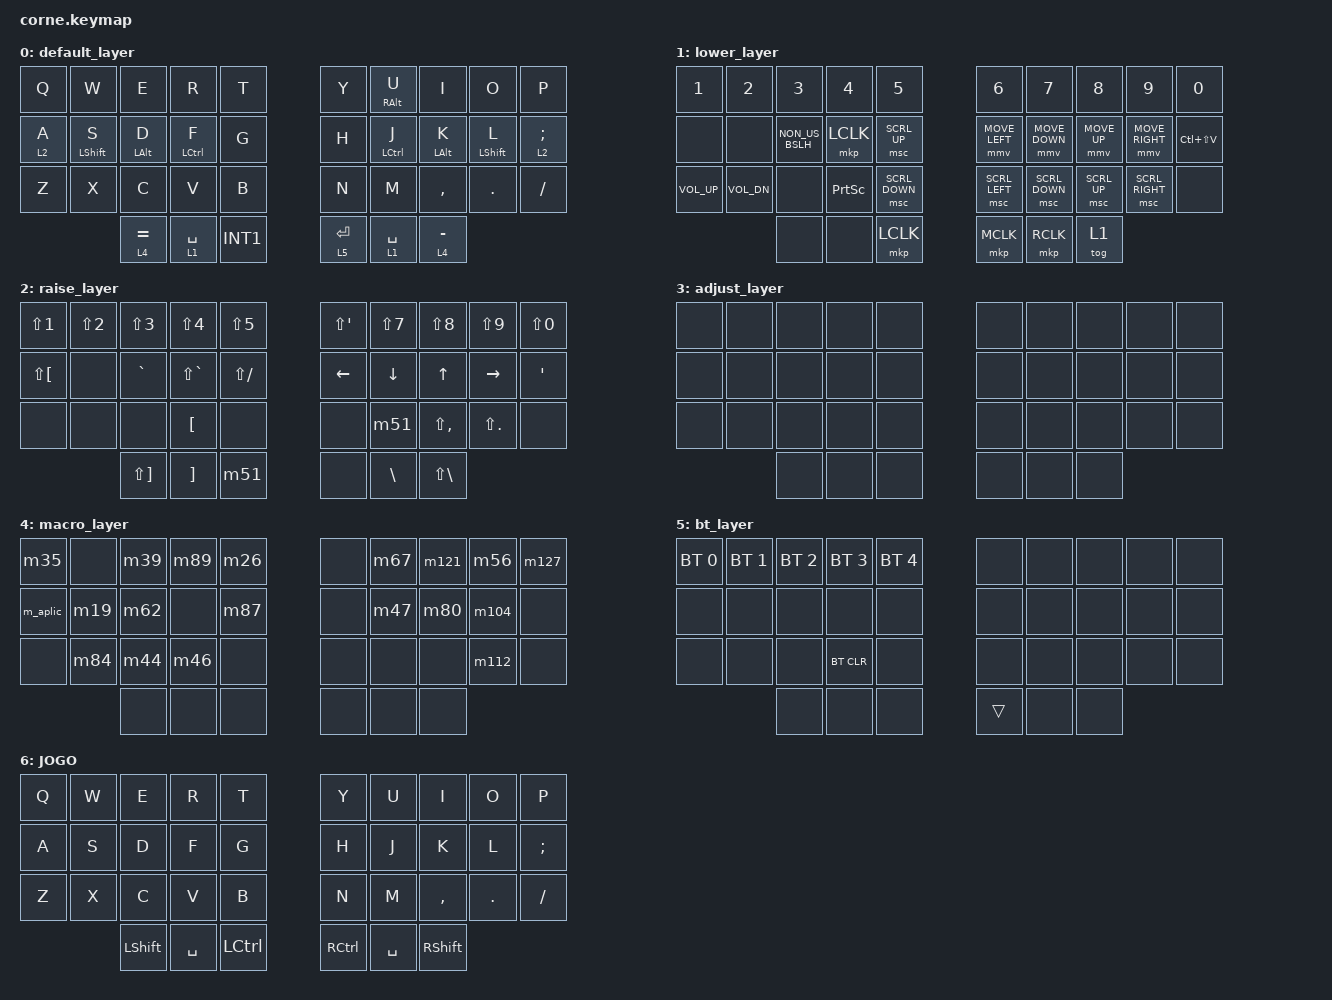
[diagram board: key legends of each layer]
/*
 * Corne Mini 3x5 ZMK Keymap
 * Converted from QMK/Vial - 2026-03-18
 * 
 * Layout: QWERTY with Home Row Mods (GASC)
 * OS Layout: ABNT2 (teclado fisico US, layout BR no OS)
 * 
 * Layers:
 *   0 - Default (QWERTY + HRM)
 *   1 - Lower (Numbers + Mouse)
 *   2 - Raise (Symbols + Navigation)
 *   3 - Adjust (empty/reserved)
 *   4 - Macros (text macros on keys)
 *   5 - Bluetooth: SEGURAR Enter (&lt 5 RET, polegar interno direito) e tocar
 *       Q=PC  W=celular  E=Pi4  R=Orange Pi  T=livre (perfis 0-4; mesmas teclas do 1-5
 *       na Lower). V = limpa o perfil atual. (13/10/2026 — substituiu Espaco->A->tecla.)
 *
 * Positions (Corne 3x5):
 *   0  1  2  3  4     5  6  7  8  9
 *  10 11 12 13 14    15 16 17 18 19
 *  20 21 22 23 24    25 26 27 28 29
 *        30 31 32    33 34 35
 */

#include <behaviors.dtsi>
#include <dt-bindings/zmk/keys.h>
#include <dt-bindings/zmk/bt.h>
#include <dt-bindings/zmk/mouse.h>
#include <dt-bindings/zmk/hid_usage.h>

/ {
    chosen {
        zmk,physical-layout = &foostan_corne_5col_layout;
    };

    behaviors {
        // Liga/desliga a camada JOGO sem inverter (usados pelo hid_listeners abaixo).
        tog_on: tog_on {
            compatible = "zmk,behavior-toggle-layer";
            #binding-cells = <1>;
            display-name = "Layer On";
            toggle-mode = "on";
        };
        tog_off: tog_off {
            compatible = "zmk,behavior-toggle-layer";
            #binding-cells = <1>;
            display-name = "Layer Off";
            toggle-mode = "off";
        };
        hm_l: homerow_left {
            compatible = "zmk,behavior-hold-tap";
            #binding-cells = <2>;
            tapping-term-ms = <200>;
            quick-tap-ms = <150>;
            require-prior-idle-ms = <100>;
            flavor = "tap-preferred";
            hold-trigger-key-positions = <5 6 7 8 9 15 16 17 18 19 25 26 27 28 29 30 31 32 33 34 35>;
            hold-trigger-on-release;
            bindings = <&kp>, <&kp>;
        };
        hm_r: homerow_right {
            compatible = "zmk,behavior-hold-tap";
            #binding-cells = <2>;
            tapping-term-ms = <200>;
            quick-tap-ms = <150>;
            require-prior-idle-ms = <100>;
            flavor = "tap-preferred";
            hold-trigger-key-positions = <0 1 2 3 4 10 11 12 13 14 20 21 22 23 24 30 31 32 33 34 35>;
            hold-trigger-on-release;
            bindings = <&kp>, <&kp>;
        };
        // Shift de um toque (igual ao Sofle): vale só para a PRÓXIMA tecla.
        // quick-release = solta no aperto da próxima (rolando "Eu" não sai "EU");
        // lazy = o Shift só vai ao PC junto com a próxima tecla.
        sk_mai: sticky_shift_maiuscula {
            compatible = "zmk,behavior-sticky-key";
            #binding-cells = <1>;
            release-after-ms = <3000>;
            quick-release;
            lazy;
            bindings = <&kp>;
        };
    };

    macros {
        // Crase LITERAL (28/10/2026, igual ao Sofle): tecla morta + espaço = ` na
        // hora, sem esperar a próxima tecla (senão `agravo` vira "àgravo").
        m_crase: m_crase {
            compatible = "zmk,behavior-macro";
            #binding-cells = <0>;
            wait-ms = <20>;
            tap-ms = <20>;
            bindings
                = <&macro_tap &kp LS(LBKT) &kp SPACE>
                ;
        };
        m_acirc: m_acirc {
            compatible = "zmk,behavior-macro";
            #binding-cells = <0>;
            wait-ms = <20>;
            tap-ms = <20>;
            bindings
                = <&macro_tap &kp LS(SQT) &kp A>
                ;
        };
        m_dagudo: m_dagudo {
            compatible = "zmk,behavior-macro";
            #binding-cells = <0>;
            wait-ms = <20>;
            tap-ms = <20>;
            bindings
                = <&macro_tap &kp D &kp LBKT &kp A>
                ;
        };
        // Espaço + próxima letra maiúscula (combo dos dois Espaços).
        m_espmai: m_espmai {
            compatible = "zmk,behavior-macro";
            #binding-cells = <0>;
            wait-ms = <0>;
            tap-ms = <10>;
            bindings
                = <&macro_tap &kp SPACE &sk_mai LSHFT>
                ;
        };
        m0: m0 {
            compatible = "zmk,behavior-macro";
            #binding-cells = <0>;
            wait-ms = <20>;
            tap-ms = <20>;
            bindings
                = <&macro_tap &kp Q &kp U &kp E>
                ;
        };
        m1: m1 {
            compatible = "zmk,behavior-macro";
            #binding-cells = <0>;
            wait-ms = <20>;
            tap-ms = <20>;
            bindings
                = <&macro_tap &kp D &kp A &kp D &kp E>
                ;
        };
        m2: m2 {
            compatible = "zmk,behavior-macro";
            #binding-cells = <0>;
            wait-ms = <20>;
            tap-ms = <20>;
            bindings
                = <&macro_tap &kp M &kp E &kp N &kp T>
                ;
        };
        m3: m3 {
            compatible = "zmk,behavior-macro";
            #binding-cells = <0>;
            wait-ms = <20>;
            tap-ms = <20>;
            bindings
                = <&macro_tap &kp D &kp A &kp D &kp O>
                ;
        };
        m4: m4 {
            compatible = "zmk,behavior-macro";
            #binding-cells = <0>;
            wait-ms = <20>;
            tap-ms = <20>;
            bindings
                = <&macro_tap &kp LS(SQT)>
                , <&macro_wait_time 19>
                , <&macro_tap &kp A &kp N &kp C &kp I &kp A>
                ;
        };
        m5: m5 {
            compatible = "zmk,behavior-macro";
            #binding-cells = <0>;
            wait-ms = <20>;
            tap-ms = <20>;
            bindings
                = <&macro_tap &kp SQT>
                , <&macro_wait_time 20>
                , <&macro_tap &kp A>
                , <&macro_wait_time 20>
                , <&macro_tap &kp O>
                ;
        };
        m6: m6 {
            compatible = "zmk,behavior-macro";
            #binding-cells = <0>;
            wait-ms = <20>;
            tap-ms = <20>;
            bindings
                = <&macro_tap &kp D &kp I &kp D &kp A>
                ;
        };
        m7: m7 {
            compatible = "zmk,behavior-macro";
            #binding-cells = <0>;
            wait-ms = <20>;
            tap-ms = <20>;
            bindings
                = <&macro_tap &kp LS(SQT) &kp LS(SQT)>
                ;
        };
        m8: m8 {
            compatible = "zmk,behavior-macro";
            #binding-cells = <0>;
            wait-ms = <20>;
            tap-ms = <20>;
            bindings
                = <&macro_tap &kp B &kp A &kp S &kp E>
                ;
        };
        m9: m9 {
            compatible = "zmk,behavior-macro";
            #binding-cells = <0>;
            wait-ms = <20>;
            tap-ms = <20>;
            bindings
                = <&macro_tap &kp C &kp O &kp M>
                ;
        };
        m10: m10 {
            compatible = "zmk,behavior-macro";
            #binding-cells = <0>;
            wait-ms = <20>;
            tap-ms = <20>;
            bindings
                = <&macro_tap &kp P &kp R &kp O>
                ;
        };
        m11: m11 {
            compatible = "zmk,behavior-macro";
            #binding-cells = <0>;
            wait-ms = <20>;
            tap-ms = <20>;
            bindings
                = <&macro_tap &kp P &kp R &kp E>
                ;
        };
        m12: m12 {
            compatible = "zmk,behavior-macro";
            #binding-cells = <0>;
            wait-ms = <20>;
            tap-ms = <20>;
            bindings
                = <&macro_tap &kp P &kp A &kp R>
                ;
        };
        m13: m13 {
            compatible = "zmk,behavior-macro";
            #binding-cells = <0>;
            wait-ms = <20>;
            tap-ms = <20>;
            bindings
                = <&macro_tap &kp N &kp H>
                ;
        };
        m14: m14 {
            compatible = "zmk,behavior-macro";
            #binding-cells = <0>;
            wait-ms = <20>;
            tap-ms = <20>;
            bindings
                = <&macro_tap &kp LBKT>
                , <&macro_wait_time 17>
                , <&macro_tap &kp A>
                ;
        };
        m15: m15 {
            compatible = "zmk,behavior-macro";
            #binding-cells = <0>;
            wait-ms = <20>;
            tap-ms = <20>;
            bindings
                = <&macro_tap &kp C &kp O &kp N &kp T &kp R &kp A>
                ;
        };
        m16: m16 {
            compatible = "zmk,behavior-macro";
            #binding-cells = <0>;
            wait-ms = <20>;
            tap-ms = <20>;
            bindings
                = <&macro_tap &kp E &kp S &kp T>
                ;
        };
        m17: m17 {
            compatible = "zmk,behavior-macro";
            #binding-cells = <0>;
            wait-ms = <20>;
            tap-ms = <20>;
            bindings
                = <&macro_tap &kp F &kp U &kp N &kp D &kp A &kp M &kp E &kp N &kp T>
                ;
        };
        m18: m18 {
            compatible = "zmk,behavior-macro";
            #binding-cells = <0>;
            wait-ms = <20>;
            tap-ms = <20>;
            bindings
                = <&macro_tap &kp D &kp E &kp T &kp E &kp R>
                ;
        };
        m19: m19 {
            compatible = "zmk,behavior-macro";
            #binding-cells = <0>;
            wait-ms = <20>;
            tap-ms = <20>;
            bindings
                = <&macro_tap &kp S &kp O &kp B &kp R &kp E>
                ;
        };
        m20: m20 {
            compatible = "zmk,behavior-macro";
            #binding-cells = <0>;
            wait-ms = <20>;
            tap-ms = <20>;
            bindings
                = <&macro_tap &kp LBKT &kp E>
                ;
        };
        m21: m21 {
            compatible = "zmk,behavior-macro";
            #binding-cells = <0>;
            wait-ms = <20>;
            tap-ms = <20>;
            bindings
                = <&macro_tap &kp Q &kp U &kp A &kp N &kp T &kp O>
                ;
        };
        m22: m22 {
            compatible = "zmk,behavior-macro";
            #binding-cells = <0>;
            wait-ms = <20>;
            tap-ms = <20>;
            bindings
                = <&macro_tap &kp F &kp O &kp R &kp M &kp A>
                ;
        };
        m23: m23 {
            compatible = "zmk,behavior-macro";
            #binding-cells = <0>;
            wait-ms = <20>;
            tap-ms = <20>;
            bindings
                = <&macro_tap &kp P>
                , <&macro_wait_time 15>
                , <&macro_tap &kp R>
                , <&macro_wait_time 15>
                , <&macro_tap &kp I>
                , <&macro_wait_time 15>
                , <&macro_tap &kp N>
                , <&macro_wait_time 15>
                , <&macro_tap &kp C>
                ;
        };
        m24: m24 {
            compatible = "zmk,behavior-macro";
            #binding-cells = <0>;
            wait-ms = <20>;
            tap-ms = <20>;
            bindings
                = <&macro_tap &kp A &kp P &kp E &kp S &kp A &kp R>
                ;
        };
        m25: m25 {
            compatible = "zmk,behavior-macro";
            #binding-cells = <0>;
            wait-ms = <20>;
            tap-ms = <20>;
            bindings
                = <&macro_tap &kp P &kp O &kp I &kp S>
                ;
        };
        m26: m26 {
            compatible = "zmk,behavior-macro";
            #binding-cells = <0>;
            wait-ms = <20>;
            tap-ms = <20>;
            bindings
                = <&macro_tap &kp T &kp R &kp A &kp B &kp A>
                , <&macro_wait_time 16>
                , <&macro_tap &kp L &kp H>
                ;
        };
        m27: m27 {
            compatible = "zmk,behavior-macro";
            #binding-cells = <0>;
            wait-ms = <20>;
            tap-ms = <20>;
            bindings
                = <&macro_tap &kp P &kp U &kp B &kp L &kp I &kp C>
                ;
        };
        m28: m28 {
            compatible = "zmk,behavior-macro";
            #binding-cells = <0>;
            wait-ms = <20>;
            tap-ms = <20>;
            bindings
                = <&macro_tap &kp LS(SQT)>
                , <&macro_wait_time 22>
                , <&macro_tap &kp E>
                , <&macro_wait_time 22>
                , <&macro_tap &kp N &kp C &kp I &kp A>
                ;
        };
        m29: m29 {
            compatible = "zmk,behavior-macro";
            #binding-cells = <0>;
            wait-ms = <20>;
            tap-ms = <20>;
            bindings
                = <&macro_tap &kp P &kp O &kp R &kp Q &kp U &kp E>
                ;
        };
        m30: m30 {
            compatible = "zmk,behavior-macro";
            #binding-cells = <0>;
            wait-ms = <20>;
            tap-ms = <20>;
            bindings
                = <&macro_tap &kp P &kp O &kp D &kp E>
                ;
        };
        m31: m31 {
            compatible = "zmk,behavior-macro";
            #binding-cells = <0>;
            wait-ms = <20>;
            tap-ms = <20>;
            bindings
                = <&macro_tap &kp S &kp E &kp N &kp T &kp E &kp N>
                , <&macro_tap &kp SEMI &kp A>
                ;
        };
        m32: m32 {
            compatible = "zmk,behavior-macro";
            #binding-cells = <0>;
            wait-ms = <20>;
            tap-ms = <20>;
            bindings
                = <&macro_tap &kp L &kp E &kp G &kp A &kp L>
                ;
        };
        m33: m33 {
            compatible = "zmk,behavior-macro";
            #binding-cells = <0>;
            wait-ms = <20>;
            tap-ms = <20>;
            bindings
                = <&macro_tap &kp E &kp X &kp E &kp C &kp U>
                ;
        };
        m34: m34 {
            compatible = "zmk,behavior-macro";
            #binding-cells = <0>;
            wait-ms = <20>;
            tap-ms = <20>;
            bindings
                = <&macro_tap &kp D &kp E>
                ;
        };
        m35: m35 {
            compatible = "zmk,behavior-macro";
            #binding-cells = <0>;
            wait-ms = <20>;
            tap-ms = <20>;
            bindings
                = <&macro_tap &kp Q &kp U &kp A &kp N &kp D &kp O>
                ;
        };
        m36: m36 {
            compatible = "zmk,behavior-macro";
            #binding-cells = <0>;
            wait-ms = <20>;
            tap-ms = <20>;
            bindings
                = <&macro_tap &kp D &kp I &kp R &kp E &kp I &kp T>
                , <&macro_wait_time 20>
                , <&macro_tap &kp O>
                ;
        };
        m37: m37 {
            compatible = "zmk,behavior-macro";
            #binding-cells = <0>;
            wait-ms = <20>;
            tap-ms = <20>;
            bindings
                = <&macro_tap &kp P &kp R &kp O &kp C &kp E &kp S &kp S>
                ;
        };
        m38: m38 {
            compatible = "zmk,behavior-macro";
            #binding-cells = <0>;
            wait-ms = <20>;
            tap-ms = <20>;
            bindings
                = <&macro_tap &kp Q &kp U &kp I>
                ;
        };
        m39: m39 {
            compatible = "zmk,behavior-macro";
            #binding-cells = <0>;
            wait-ms = <20>;
            tap-ms = <20>;
            bindings
                = <&macro_tap &kp E &kp N>
                , <&macro_wait_time 15>
                , <&macro_tap &kp T>
                , <&macro_tap &kp SQT>
                , <&macro_wait_time 16>
                , <&macro_tap &kp A &kp O>
                ;
        };
        m40: m40 {
            compatible = "zmk,behavior-macro";
            #binding-cells = <0>;
            wait-ms = <20>;
            tap-ms = <20>;
            bindings
                = <&macro_tap &kp A &kp S &kp S &kp I &kp M>
                ;
        };
        m41: m41 {
            compatible = "zmk,behavior-macro";
            #binding-cells = <0>;
            wait-ms = <20>;
            tap-ms = <20>;
            bindings
                = <&macro_tap &kp T &kp R &kp I &kp B &kp U &kp N &kp A &kp L>
                ;
        };
        m42: m42 {
            compatible = "zmk,behavior-macro";
            #binding-cells = <0>;
            wait-ms = <20>;
            tap-ms = <20>;
            bindings
                = <&macro_tap &kp R>
                , <&macro_wait_time 15>
                , <&macro_tap &kp E>
                , <&macro_wait_time 15>
                , <&macro_tap &kp G>
                ;
        };
        m43: m43 {
            compatible = "zmk,behavior-macro";
            #binding-cells = <0>;
            wait-ms = <20>;
            tap-ms = <20>;
            bindings
                = <&macro_tap &kp S &kp E &kp J &kp A>
                ;
        };
        m44: m44 {
            compatible = "zmk,behavior-macro";
            #binding-cells = <0>;
            wait-ms = <20>;
            tap-ms = <20>;
            bindings
                = <&macro_tap &kp C &kp A &kp R &kp A &kp C &kp T &kp E &kp R>
                ;
        };
        m45: m45 {
            compatible = "zmk,behavior-macro";
            #binding-cells = <0>;
            wait-ms = <20>;
            tap-ms = <20>;
            bindings
                = <&macro_tap &kp LS(SQT) &kp E>
                ;
        };
        m46: m46 {
            compatible = "zmk,behavior-macro";
            #binding-cells = <0>;
            wait-ms = <20>;
            tap-ms = <20>;
            bindings
                = <&macro_tap &kp V &kp A &kp L &kp O &kp R>
                ;
        };
        m47: m47 {
            compatible = "zmk,behavior-macro";
            #binding-cells = <0>;
            wait-ms = <20>;
            tap-ms = <20>;
            bindings
                = <&macro_tap &kp J &kp U>
                , <&macro_wait_time 22>
                , <&macro_tap &kp LBKT>
                , <&macro_wait_time 22>
                , <&macro_tap &kp I>
                , <&macro_wait_time 22>
                , <&macro_tap &kp Z &kp O>
                ;
        };
        m48: m48 {
            compatible = "zmk,behavior-macro";
            #binding-cells = <0>;
            wait-ms = <20>;
            tap-ms = <20>;
            bindings
                = <&macro_tap &kp LBKT>
                , <&macro_wait_time 20>
                , <&macro_tap &kp A &kp R &kp I>
                ;
        };
        m49: m49 {
            compatible = "zmk,behavior-macro";
            #binding-cells = <0>;
            wait-ms = <20>;
            tap-ms = <20>;
            bindings
                = <&macro_tap &kp N &kp E &kp C &kp E>
                ;
        };
        m50: m50 {
            compatible = "zmk,behavior-macro";
            #binding-cells = <0>;
            wait-ms = <20>;
            tap-ms = <20>;
            bindings
                = <&macro_tap &kp SEMI>
                , <&macro_wait_time 22>
                , <&macro_tap &kp SQT>
                , <&macro_wait_time 22>
                , <&macro_tap &kp A &kp O>
                ;
        };
        m51: m51 {
            compatible = "zmk,behavior-macro";
            #binding-cells = <0>;
            wait-ms = <20>;
            tap-ms = <20>;
            bindings
                = <&macro_tap &kp LS(LBKT) &kp LS(LBKT)>
                ;
        };
        m52: m52 {
            compatible = "zmk,behavior-macro";
            #binding-cells = <0>;
            wait-ms = <20>;
            tap-ms = <20>;
            bindings
                = <&macro_tap &kp SQT>
                , <&macro_wait_time 20>
                , <&macro_tap &kp O &kp E &kp S>
                ;
        };
        m53: m53 {
            compatible = "zmk,behavior-macro";
            #binding-cells = <0>;
            wait-ms = <20>;
            tap-ms = <20>;
            bindings
                = <&macro_tap &kp T>
                , <&macro_wait_time 10>
                , <&macro_tap &kp I>
                , <&macro_wait_time 10>
                , <&macro_tap &kp T>
                , <&macro_wait_time 10>
                , <&macro_tap &kp U>
                ;
        };
        m54: m54 {
            compatible = "zmk,behavior-macro";
            #binding-cells = <0>;
            wait-ms = <20>;
            tap-ms = <20>;
            bindings
                = <&macro_tap &kp M &kp A>
                , <&macro_wait_time 15>
                , <&macro_tap &kp N &kp I &kp F>
                ;
        };
        m55: m55 {
            compatible = "zmk,behavior-macro";
            #binding-cells = <0>;
            wait-ms = <20>;
            tap-ms = <20>;
            bindings
                = <&macro_press &kp LSHFT>
                , <&macro_tap &kp NON_US_BSLH>
                , <&macro_release &kp LSHFT>
                ;
        };
        m56: m56 {
            compatible = "zmk,behavior-macro";
            #binding-cells = <0>;
            wait-ms = <20>;
            tap-ms = <20>;
            bindings
                = <&macro_tap &kp O &kp B &kp S &kp E &kp R &kp V>
                ;
        };
        m57: m57 {
            compatible = "zmk,behavior-macro";
            #binding-cells = <0>;
            wait-ms = <20>;
            tap-ms = <20>;
            bindings
                = <&macro_tap &kp R &kp E &kp F &kp E>
                ;
        };
        m58: m58 {
            compatible = "zmk,behavior-macro";
            #binding-cells = <0>;
            wait-ms = <20>;
            tap-ms = <20>;
            bindings
                = <&macro_tap &kp C &kp A &kp S>
                , <&macro_wait_time 20>
                , <&macro_tap &kp O>
                ;
        };
        m59: m59 {
            compatible = "zmk,behavior-macro";
            #binding-cells = <0>;
            wait-ms = <20>;
            tap-ms = <20>;
            bindings
                = <&macro_tap &kp M &kp E &kp D &kp I>
                ;
        };
        m60: m60 {
            compatible = "zmk,behavior-macro";
            #binding-cells = <0>;
            wait-ms = <20>;
            tap-ms = <20>;
            bindings
                = <&macro_tap &kp P &kp R &kp A &kp Z &kp O>
                ;
        };
        m61: m61 {
            compatible = "zmk,behavior-macro";
            #binding-cells = <0>;
            wait-ms = <20>;
            tap-ms = <20>;
            bindings
                = <&macro_tap &kp LBKT &kp U>
                ;
        };
        m62: m62 {
            compatible = "zmk,behavior-macro";
            #binding-cells = <0>;
            wait-ms = <20>;
            tap-ms = <20>;
            bindings
                = <&macro_tap &kp D &kp E &kp C &kp I &kp S>
                , <&macro_wait_time 25>
                , <&macro_tap &kp SQT>
                , <&macro_wait_time 25>
                , <&macro_tap &kp A &kp O>
                ;
        };
        m63: m63 {
            compatible = "zmk,behavior-macro";
            #binding-cells = <0>;
            wait-ms = <20>;
            tap-ms = <20>;
            bindings
                = <&macro_tap &kp T &kp E &kp X &kp T &kp O>
                ;
        };
        m64: m64 {
            compatible = "zmk,behavior-macro";
            #binding-cells = <0>;
            wait-ms = <20>;
            tap-ms = <20>;
            bindings
                = <&macro_tap &kp N &kp O &kp R &kp M &kp A>
                ;
        };
        m65: m65 {
            compatible = "zmk,behavior-macro";
            #binding-cells = <0>;
            wait-ms = <20>;
            tap-ms = <20>;
            bindings
                = <&macro_tap &kp C &kp O &kp N &kp S &kp I &kp D &kp E &kp R>
                ;
        };
        m66: m66 {
            compatible = "zmk,behavior-macro";
            #binding-cells = <0>;
            wait-ms = <20>;
            tap-ms = <20>;
            bindings
                = <&macro_tap &kp P &kp R &kp O &kp V &kp A>
                ;
        };
        m67: m67 {
            compatible = "zmk,behavior-macro";
            #binding-cells = <0>;
            wait-ms = <20>;
            tap-ms = <20>;
            bindings
                = <&macro_tap &kp D &kp O &kp C &kp U &kp M &kp E &kp N &kp T &kp O>
                ;
        };
        m68: m68 {
            compatible = "zmk,behavior-macro";
            #binding-cells = <0>;
            wait-ms = <20>;
            tap-ms = <20>;
            bindings
                = <&macro_tap &kp M &kp E &kp S &kp M>
                ;
        };
        m69: m69 {
            compatible = "zmk,behavior-macro";
            #binding-cells = <0>;
            wait-ms = <20>;
            tap-ms = <20>;
            bindings
                = <&macro_tap &kp P &kp A &kp R &kp T &kp E>
                ;
        };
        m70: m70 {
            compatible = "zmk,behavior-macro";
            #binding-cells = <0>;
            wait-ms = <20>;
            tap-ms = <20>;
            bindings
                = <&macro_tap &kp E &kp N &kp D>
                ;
        };
        m71: m71 {
            compatible = "zmk,behavior-macro";
            #binding-cells = <0>;
            wait-ms = <20>;
            tap-ms = <20>;
            bindings
                = <&macro_tap &kp O>
                , <&macro_wait_time 20>
                , <&macro_tap &kp B>
                , <&macro_wait_time 11>
                , <&macro_tap &kp R &kp I &kp G>
                , <&macro_wait_time 11>
                , <&macro_tap &kp A>
                ;
        };
        m72: m72 {
            compatible = "zmk,behavior-macro";
            #binding-cells = <0>;
            wait-ms = <20>;
            tap-ms = <20>;
            bindings
                = <&macro_tap &kp G &kp R &kp A &kp V>
                ;
        };
        m73: m73 {
            compatible = "zmk,behavior-macro";
            #binding-cells = <0>;
            wait-ms = <20>;
            tap-ms = <20>;
            bindings
                = <&macro_tap &kp I &kp N &kp T &kp E &kp R>
                ;
        };
        m74: m74 {
            compatible = "zmk,behavior-macro";
            #binding-cells = <0>;
            wait-ms = <20>;
            tap-ms = <20>;
            bindings
                = <&macro_tap &kp LBKT>
                , <&macro_tap &kp A>
                , <&macro_wait_time 10>
                , <&macro_tap &kp V &kp E &kp L>
                ;
        };
        m75: m75 {
            compatible = "zmk,behavior-macro";
            #binding-cells = <0>;
            wait-ms = <20>;
            tap-ms = <20>;
            bindings
                = <&macro_tap &kp C &kp LBKT>
                , <&macro_wait_time 13>
                , <&macro_tap &kp O &kp D &kp I &kp G &kp O>
                ;
        };
        m76: m76 {
            compatible = "zmk,behavior-macro";
            #binding-cells = <0>;
            wait-ms = <20>;
            tap-ms = <20>;
            bindings
                = <&macro_tap &kp Q &kp U &kp A>
                ;
        };
        m77: m77 {
            compatible = "zmk,behavior-macro";
            #binding-cells = <0>;
            wait-ms = <20>;
            tap-ms = <20>;
            bindings
                = <&macro_tap &kp M &kp U &kp I &kp T>
                ;
        };
        m78: m78 {
            compatible = "zmk,behavior-macro";
            #binding-cells = <0>;
            wait-ms = <20>;
            tap-ms = <20>;
            bindings
                = <&macro_tap &kp S &kp E &kp N>
                , <&macro_wait_time 20>
                , <&macro_tap &kp D &kp O>
                ;
        };
        m79: m79 {
            compatible = "zmk,behavior-macro";
            #binding-cells = <0>;
            wait-ms = <20>;
            tap-ms = <20>;
            bindings
                = <&macro_tap &kp T &kp E>
                , <&macro_wait_time 20>
                , <&macro_tap &kp N &kp D &kp O>
                ;
        };
        m80: m80 {
            compatible = "zmk,behavior-macro";
            #binding-cells = <0>;
            wait-ms = <20>;
            tap-ms = <20>;
            bindings
                = <&macro_tap &kp C &kp O &kp M &kp P &kp E &kp T>
                ;
        };
        m81: m81 {
            compatible = "zmk,behavior-macro";
            #binding-cells = <0>;
            wait-ms = <20>;
            tap-ms = <20>;
            bindings
                = <&macro_tap &kp P &kp E &kp L>
                ;
        };
        m82: m82 {
            compatible = "zmk,behavior-macro";
            #binding-cells = <0>;
            wait-ms = <20>;
            tap-ms = <20>;
            bindings
                = <&macro_tap &kp LBKT>
                , <&macro_wait_time 20>
                , <&macro_tap &kp O &kp R &kp I>
                ;
        };
        m83: m83 {
            compatible = "zmk,behavior-macro";
            #binding-cells = <0>;
            wait-ms = <20>;
            tap-ms = <20>;
            bindings
                = <&macro_tap &kp E &kp N &kp T &kp R &kp E>
                ;
        };
        m84: m84 {
            compatible = "zmk,behavior-macro";
            #binding-cells = <0>;
            wait-ms = <20>;
            tap-ms = <20>;
            bindings
                = <&macro_tap &kp E &kp X &kp T &kp R &kp A>
                ;
        };
        m85: m85 {
            compatible = "zmk,behavior-macro";
            #binding-cells = <0>;
            wait-ms = <20>;
            tap-ms = <20>;
            bindings
                = <&macro_tap &kp T &kp R &kp A &kp N &kp S>
                ;
        };
        m86: m86 {
            compatible = "zmk,behavior-macro";
            #binding-cells = <0>;
            wait-ms = <20>;
            tap-ms = <20>;
            bindings
                = <&macro_tap &kp E &kp X>
                , <&macro_wait_time 17>
                , <&macro_tap &kp I &kp G>
                ;
        };
        m87: m87 {
            compatible = "zmk,behavior-macro";
            #binding-cells = <0>;
            wait-ms = <20>;
            tap-ms = <20>;
            bindings
                = <&macro_tap &kp G &kp A &kp R &kp A &kp N &kp T>
                ;
        };
        m88: m88 {
            compatible = "zmk,behavior-macro";
            #binding-cells = <0>;
            wait-ms = <20>;
            tap-ms = <20>;
            bindings
                = <&macro_tap &kp J &kp U &kp R>
                , <&macro_tap &kp LBKT>
                , <&macro_tap &kp I>
                , <&macro_wait_time 17>
                , <&macro_tap &kp D>
                ;
        };
        m89: m89 {
            compatible = "zmk,behavior-macro";
            #binding-cells = <0>;
            wait-ms = <20>;
            tap-ms = <20>;
            bindings
                = <&macro_tap &kp R &kp E &kp Q &kp U &kp E &kp R>
                ;
        };
        m90: m90 {
            compatible = "zmk,behavior-macro";
            #binding-cells = <0>;
            wait-ms = <20>;
            tap-ms = <20>;
            bindings
                = <&macro_tap &kp H &kp LBKT &kp A>
                ;
        };
        m91: m91 {
            compatible = "zmk,behavior-macro";
            #binding-cells = <0>;
            wait-ms = <20>;
            tap-ms = <20>;
            bindings
                = <&macro_tap &kp C &kp O &kp N>
                ;
        };
        m92: m92 {
            compatible = "zmk,behavior-macro";
            #binding-cells = <0>;
            wait-ms = <20>;
            tap-ms = <20>;
            bindings
                = <&macro_tap &kp I &kp N &kp C &kp L &kp U>
                ;
        };
        m93: m93 {
            compatible = "zmk,behavior-macro";
            #binding-cells = <0>;
            wait-ms = <20>;
            tap-ms = <20>;
            bindings
                = <&macro_tap &kp A &kp T>
                , <&macro_wait_time 20>
                , <&macro_tap &kp LBKT>
                , <&macro_wait_time 20>
                , <&macro_tap &kp E>
                ;
        };
        m94: m94 {
            compatible = "zmk,behavior-macro";
            #binding-cells = <0>;
            wait-ms = <20>;
            tap-ms = <20>;
            bindings
                = <&macro_tap &kp C &kp I &kp V &kp I &kp L>
                ;
        };
        m95: m95 {
            compatible = "zmk,behavior-macro";
            #binding-cells = <0>;
            wait-ms = <20>;
            tap-ms = <20>;
            bindings
                = <&macro_tap &kp C &kp U &kp M &kp P &kp R &kp I>
                ;
        };
        m96: m96 {
            compatible = "zmk,behavior-macro";
            #binding-cells = <0>;
            wait-ms = <20>;
            tap-ms = <20>;
            bindings
                = <&macro_tap &kp J &kp U &kp L &kp G>
                ;
        };
        m97: m97 {
            compatible = "zmk,behavior-macro";
            #binding-cells = <0>;
            wait-ms = <20>;
            tap-ms = <20>;
            bindings
                = <&macro_tap &kp J>
                , <&macro_wait_time 22>
                , <&macro_tap &kp LBKT>
                , <&macro_wait_time 22>
                , <&macro_tap &kp A>
                ;
        };
        m98: m98 {
            compatible = "zmk,behavior-macro";
            #binding-cells = <0>;
            wait-ms = <20>;
            tap-ms = <20>;
            bindings
                = <&macro_tap &kp LBKT &kp O>
                ;
        };
        m99: m99 {
            compatible = "zmk,behavior-macro";
            #binding-cells = <0>;
            wait-ms = <20>;
            tap-ms = <20>;
            bindings
                = <&macro_tap &kp LBKT>
                , <&macro_tap &kp I>
                ;
        };
        m100: m100 {
            compatible = "zmk,behavior-macro";
            #binding-cells = <0>;
            wait-ms = <20>;
            tap-ms = <20>;
            bindings
                = <&macro_tap &kp A>
                , <&macro_wait_time 16>
                , <&macro_tap &kp P>
                , <&macro_wait_time 16>
                , <&macro_tap &kp E>
                , <&macro_wait_time 16>
                , <&macro_tap &kp N>
                , <&macro_wait_time 20>
                , <&macro_tap &kp A &kp S>
                ;
        };
        m101: m101 {
            compatible = "zmk,behavior-macro";
            #binding-cells = <0>;
            wait-ms = <20>;
            tap-ms = <20>;
            bindings
                = <&macro_tap &kp A &kp L &kp T &kp E &kp R>
                ;
        };
        m102: m102 {
            compatible = "zmk,behavior-macro";
            #binding-cells = <0>;
            wait-ms = <20>;
            tap-ms = <20>;
            bindings
                = <&macro_tap &kp F &kp I &kp C &kp A>
                ;
        };
        m103: m103 {
            compatible = "zmk,behavior-macro";
            #binding-cells = <0>;
            wait-ms = <20>;
            tap-ms = <20>;
            bindings
                = <&macro_tap &kp A &kp C>
                , <&macro_wait_time 15>
                , <&macro_tap &kp O &kp R &kp D>
                ;
        };
        m104: m104 {
            compatible = "zmk,behavior-macro";
            #binding-cells = <0>;
            wait-ms = <20>;
            tap-ms = <20>;
            bindings
                = <&macro_tap &kp J &kp U &kp D &kp I &kp C &kp I &kp A &kp L>
                ;
        };
        m105: m105 {
            compatible = "zmk,behavior-macro";
            #binding-cells = <0>;
            wait-ms = <20>;
            tap-ms = <20>;
            bindings
                = <&macro_tap &kp S>
                , <&macro_wait_time 22>
                , <&macro_tap &kp SQT>
                , <&macro_wait_time 22>
                , <&macro_tap &kp A>
                , <&macro_wait_time 22>
                , <&macro_tap &kp O>
                ;
        };
        m106: m106 {
            compatible = "zmk,behavior-macro";
            #binding-cells = <0>;
            wait-ms = <20>;
            tap-ms = <20>;
            bindings
                = <&macro_tap &kp E &kp N &kp T>
                ;
        };
        m107: m107 {
            compatible = "zmk,behavior-macro";
            #binding-cells = <0>;
            wait-ms = <20>;
            tap-ms = <20>;
            bindings
                = <&macro_tap &kp S &kp I &kp S &kp T &kp E &kp M>
                ;
        };
        m108: m108 {
            compatible = "zmk,behavior-macro";
            #binding-cells = <0>;
            wait-ms = <20>;
            tap-ms = <20>;
            bindings
                = <&macro_tap &kp LS(SQT) &kp O>
                ;
        };
        m109: m109 {
            compatible = "zmk,behavior-macro";
            #binding-cells = <0>;
            wait-ms = <20>;
            tap-ms = <20>;
            bindings
                = <&macro_tap &kp J &kp U &kp S &kp T &kp I &kp F &kp I &kp C>
                ;
        };
        m110: m110 {
            compatible = "zmk,behavior-macro";
            #binding-cells = <0>;
            wait-ms = <20>;
            tap-ms = <20>;
            bindings
                = <&macro_tap &kp T &kp A>
                , <&macro_wait_time 20>
                , <&macro_tap &kp N>
                , <&macro_wait_time 15>
                , <&macro_tap &kp T &kp O>
                ;
        };
        m111: m111 {
            compatible = "zmk,behavior-macro";
            #binding-cells = <0>;
            wait-ms = <20>;
            tap-ms = <20>;
            bindings
                = <&macro_tap &kp A &kp G &kp R &kp A &kp V &kp O>
                ;
        };
        m112: m112 {
            compatible = "zmk,behavior-macro";
            #binding-cells = <0>;
            wait-ms = <20>;
            tap-ms = <20>;
            bindings
                = <&macro_tap &kp A &kp R &kp Q &kp U &kp I &kp V &kp O>
                ;
        };
        m113: m113 {
            compatible = "zmk,behavior-macro";
            #binding-cells = <0>;
            wait-ms = <20>;
            tap-ms = <20>;
            bindings
                = <&macro_tap &kp S>
                , <&macro_wait_time 20>
                , <&macro_tap &kp LBKT>
                , <&macro_wait_time 20>
                , <&macro_tap &kp O>
                ;
        };
        m114: m114 {
            compatible = "zmk,behavior-macro";
            #binding-cells = <0>;
            wait-ms = <20>;
            tap-ms = <20>;
            bindings
                = <&macro_tap &kp C &kp O &kp N &kp F &kp O &kp R &kp M &kp E>
                ;
        };
        m115: m115 {
            compatible = "zmk,behavior-macro";
            #binding-cells = <0>;
            wait-ms = <20>;
            tap-ms = <20>;
            bindings
                = <&macro_tap &kp R &kp E &kp S &kp P>
                ;
        };
        m116: m116 {
            compatible = "zmk,behavior-macro";
            #binding-cells = <0>;
            wait-ms = <20>;
            tap-ms = <20>;
            bindings
                = <&macro_tap &kp E &kp M &kp B &kp O &kp R &kp A>
                ;
        };
        m117: m117 {
            compatible = "zmk,behavior-macro";
            #binding-cells = <0>;
            wait-ms = <20>;
            tap-ms = <20>;
            bindings
                = <&macro_tap &kp R &kp E &kp C &kp U &kp R &kp S &kp O>
                ;
        };
        m118: m118 {
            compatible = "zmk,behavior-macro";
            #binding-cells = <0>;
            wait-ms = <20>;
            tap-ms = <20>;
            bindings
                = <&macro_tap &kp A &kp I &kp N>
                , <&macro_wait_time 17>
                , <&macro_tap &kp D &kp A>
                ;
        };
        m119: m119 {
            compatible = "zmk,behavior-macro";
            #binding-cells = <0>;
            wait-ms = <20>;
            tap-ms = <20>;
            bindings
                = <&macro_tap &kp LBKT>
                , <&macro_wait_time 16>
                , <&macro_tap &kp I &kp V &kp E &kp L>
                ;
        };
        m120: m120 {
            compatible = "zmk,behavior-macro";
            #binding-cells = <0>;
            wait-ms = <20>;
            tap-ms = <20>;
            bindings
                = <&macro_tap &kp P &kp O &kp S &kp S>
                ;
        };
        m121: m121 {
            compatible = "zmk,behavior-macro";
            #binding-cells = <0>;
            wait-ms = <20>;
            tap-ms = <20>;
            bindings
                = <&macro_tap &kp I &kp N &kp D &kp E &kp P &kp E &kp N &kp D>
                ;
        };
        m122: m122 {
            compatible = "zmk,behavior-macro";
            #binding-cells = <0>;
            wait-ms = <20>;
            tap-ms = <20>;
            bindings
                = <&macro_tap &kp J &kp U &kp S &kp T &kp I>
                , <&macro_tap &kp SEMI &kp A>
                , <&macro_tap &kp SPACE &kp G &kp R &kp A &kp T &kp U &kp I &kp T &kp A>
                ;
        };
        m123: m123 {
            compatible = "zmk,behavior-macro";
            #binding-cells = <0>;
            wait-ms = <20>;
            tap-ms = <20>;
            bindings
                = <&macro_tap &kp C &kp LS(SQT)>
                , <&macro_wait_time 11>
                , <&macro_tap &kp A &kp M &kp A &kp R &kp A>
                ;
        };
        m124: m124 {
            compatible = "zmk,behavior-macro";
            #binding-cells = <0>;
            wait-ms = <20>;
            tap-ms = <20>;
            bindings
                = <&macro_tap &kp I &kp N &kp S &kp T &kp R &kp U>
                ;
        };
        m125: m125 {
            compatible = "zmk,behavior-macro";
            #binding-cells = <0>;
            wait-ms = <20>;
            tap-ms = <20>;
            bindings
                = <&macro_tap &kp SQT &kp SQT>
                ;
        };
        m126: m126 {
            compatible = "zmk,behavior-macro";
            #binding-cells = <0>;
            wait-ms = <20>;
            tap-ms = <20>;
            bindings
                = <&macro_tap &kp O>
                , <&macro_wait_time 17>
                , <&macro_tap &kp B>
                , <&macro_wait_time 17>
                , <&macro_tap &kp J>
                , <&macro_wait_time 17>
                , <&macro_tap &kp E>
                , <&macro_wait_time 17>
                , <&macro_tap &kp T>
                ;
        };
        m127: m127 {
            compatible = "zmk,behavior-macro";
            #binding-cells = <0>;
            wait-ms = <20>;
            tap-ms = <20>;
            bindings
                = <&macro_tap &kp P &kp E &kp D &kp I &kp D &kp O>
                ;
        };
        m_aplic: m_aplic {
            compatible = "zmk,behavior-macro";
            #binding-cells = <0>;
            wait-ms = <20>;
            tap-ms = <20>;
            bindings
                = <&macro_tap &kp A &kp P &kp L &kp I &kp C>
                ;
        };
        m_jus: m_jus {
            compatible = "zmk,behavior-macro";
            #binding-cells = <0>;
            wait-ms = <20>;
            tap-ms = <20>;
            bindings
                = <&macro_tap &kp J &kp U &kp S>
                ;
        };
        m_verif: m_verif {
            compatible = "zmk,behavior-macro";
            #binding-cells = <0>;
            wait-ms = <20>;
            tap-ms = <20>;
            bindings
                = <&macro_tap &kp V &kp E &kp R &kp I &kp F>
                ;
        };
        m_disp: m_disp {
            compatible = "zmk,behavior-macro";
            #binding-cells = <0>;
            wait-ms = <20>;
            tap-ms = <20>;
            bindings
                = <&macro_tap &kp D &kp I &kp S &kp P>
                ;
        };
        m_result: m_result {
            compatible = "zmk,behavior-macro";
            #binding-cells = <0>;
            wait-ms = <20>;
            tap-ms = <20>;
            bindings
                = <&macro_tap &kp R &kp E &kp S &kp U &kp L &kp T>
                ;
        };
        m_aleg: m_aleg {
            compatible = "zmk,behavior-macro";
            #binding-cells = <0>;
            wait-ms = <20>;
            tap-ms = <20>;
            bindings
                = <&macro_tap &kp A &kp L &kp E &kp G>
                ;
        };
        m_declar: m_declar {
            compatible = "zmk,behavior-macro";
            #binding-cells = <0>;
            wait-ms = <20>;
            tap-ms = <20>;
            bindings
                = <&macro_tap &kp D &kp E &kp C &kp L &kp A &kp R>
                ;
        };
        m_limit: m_limit {
            compatible = "zmk,behavior-macro";
            #binding-cells = <0>;
            wait-ms = <20>;
            tap-ms = <20>;
            bindings
                = <&macro_tap &kp L &kp I &kp M &kp I &kp T>
                ;
        };
        m_real: m_real {
            compatible = "zmk,behavior-macro";
            #binding-cells = <0>;
            wait-ms = <20>;
            tap-ms = <20>;
            bindings
                = <&macro_tap &kp R &kp E &kp A &kp L>
                ;
        };
        m_outr: m_outr {
            compatible = "zmk,behavior-macro";
            #binding-cells = <0>;
            wait-ms = <20>;
            tap-ms = <20>;
            bindings
                = <&macro_tap &kp O &kp U &kp T &kp R>
                ;
        };
        m_la: m_la {
            compatible = "zmk,behavior-macro";
            #binding-cells = <0>;
            wait-ms = <20>;
            tap-ms = <20>;
            bindings
                = <&macro_tap &kp L>
                , <&macro_wait_time 22>
                , <&macro_tap &kp LBKT>
                , <&macro_wait_time 22>
                , <&macro_tap &kp A>
                ;
        };
        m_emai: m_emai {
            compatible = "zmk,behavior-macro";
            #binding-cells = <0>;
            wait-ms = <20>;
            tap-ms = <20>;
            bindings
                = <&macro_tap &kp LBKT>
                , <&macro_wait_time 22>
                , <&macro_tap &kp LS(E)>
                ;
        };
        m_veja: m_veja {
            compatible = "zmk,behavior-macro";
            #binding-cells = <0>;
            wait-ms = <20>;
            tap-ms = <20>;
            bindings
                = <&macro_tap &kp V &kp E &kp J &kp A>
                ;
        };
        m_acrase: m_acrase {
            compatible = "zmk,behavior-macro";
            #binding-cells = <0>;
            wait-ms = <20>;
            tap-ms = <20>;
            bindings
                = <&macro_tap &kp LS(LBKT) &kp A>
                ;
        };
    };

    combos {
        compatible = "zmk,combos";
        combo_0 {
            timeout-ms = <65>;
            key-positions = <13 12>;
            layers = <0 1 2 3 4 5 6>;
            bindings = <&kp TAB>;
        };
        combo_1 {
            timeout-ms = <65>;
            key-positions = <16 17>;
            layers = <0 1 2 3 4 5 6>;
            bindings = <&kp ESC>;
        };
        combo_2 {
            timeout-ms = <50>;
            key-positions = <10 19>;
            layers = <0 1 2 3 4 5>;
            bindings = <&m5>;
        };
        combo_3 {
            timeout-ms = <65>;
            key-positions = <27 26>;
            layers = <0 1 2 3 4 5>;
            bindings = <&kp LS(MINUS)>;
        };
        combo_4 {
            timeout-ms = <65>;
            key-positions = <17 18>;
            layers = <0 1 2 3 4 5>;
            bindings = <&m75>;
        };
        combo_5 {
            timeout-ms = <65>;
            key-positions = <6 5>;
            layers = <0 1 2 3 4 5>;
            bindings = <&m18>;
        };
        combo_6 {
            timeout-ms = <65>;
            key-positions = <19 18>;
            layers = <0 1 2 3 4 5>;
            bindings = <&m32>;
        };
        combo_7 {
            timeout-ms = <65>;
            key-positions = <10 11 12 13>;
            layers = <0 1 2 3 4 5>;
            bindings = <&m65>;
        };
        combo_8 {
            timeout-ms = <65>;
            key-positions = <33 34>;
            layers = <0 1 2 3 4 5>;
            bindings = <&kp LGUI>;
        };
        combo_9 {
            timeout-ms = <65>;
            key-positions = <1 10>;
            layers = <0 1 2 3 4 5>;
            bindings = <&m54>;
        };
        combo_10 {
            timeout-ms = <65>;
            key-positions = <15 4>;
            layers = <0 1 2 3 4 5>;
            bindings = <&m101>;
        };
        combo_11 {
            timeout-ms = <65>;
            key-positions = <33 32>;
            layers = <0 1 2 3 4 5>;
            bindings = <&m55>;
        };
        combo_12 {
            timeout-ms = <65>;
            key-positions = <32 31>;
            layers = <0 1 2 3 4 5>;
            bindings = <&kp LGUI>;
        };
        combo_13 {
            timeout-ms = <65>;
            key-positions = <31 24>;
            layers = <0 1 2 3 4 5>;
            bindings = <&m125>;
        };
        combo_14 {
            timeout-ms = <65>;
            key-positions = <34 25>;
            layers = <0 1 2 3 4 5>;
            bindings = <&m7>;
        };
        combo_15 {
            timeout-ms = <65>;
            key-positions = <4 21>;
            layers = <0 1 2 3 4 5>;
            bindings = <&m63>;
        };
        combo_16 {
            timeout-ms = <65>;
            key-positions = <10 30>;
            layers = <0 1 2 3 4 5>;
            bindings = <&m14>;
        };
        combo_17 {
            timeout-ms = <65>;
            key-positions = <24 11>;
            layers = <0 1 2 3 4 5>;
            bindings = <&m8>;
        };
        combo_18 {
            timeout-ms = <65>;
            key-positions = <12 5>;
            layers = <0 1 2 3 4 5>;
            bindings = <&m6>;
        };
        combo_19 {
            timeout-ms = <65>;
            key-positions = <13 15>;
            layers = <0 1 2 3 4 5>;
            bindings = <&m17>;
        };
        combo_20 {
            timeout-ms = <50>;
            key-positions = <13 16>;
            layers = <0 1 2 3 4 5>;
            bindings = <&m0>;
        };
        combo_21 {
            timeout-ms = <50>;
            key-positions = <12 17>;
            layers = <0 1 2 3 4 5>;
            bindings = <&m1>;
        };
        combo_22 {
            timeout-ms = <50>;
            key-positions = <11 18>;
            layers = <0 1 2 3 4 5>;
            bindings = <&m2>;
        };
        combo_23 {
            timeout-ms = <65>;
            key-positions = <22 19>;
            layers = <0 1 2 3 4 5>;
            bindings = <&m50>;
        };
        combo_24 {
            timeout-ms = <65>;
            key-positions = <17 19>;
            layers = <0 1 2 3 4 5>;
            bindings = <&m15>;
        };
        combo_25 {
            timeout-ms = <65>;
            key-positions = <22 23>;
            layers = <0 1 2 3 4 5>;
            bindings = <&kp KP_PLUS>;
        };
        combo_26 {
            timeout-ms = <65>;
            key-positions = <25 17>;
            layers = <0 1 2 3 4 5>;
            bindings = <&m49>;
        };
        combo_27 {
            timeout-ms = <65>;
            key-positions = <5 23>;
            layers = <0 1 2 3 4 5>;
            bindings = <&m119>;
        };
        combo_28 {
            timeout-ms = <65>;
            key-positions = <12 13 11>;
            layers = <0 1 2 3 4 5>;
            bindings = <&m16>;
        };
        combo_29 {
            timeout-ms = <65>;
            key-positions = <6 30>;
            layers = <0 1 2 3 4 5>;
            bindings = <&m61>;
        };
        combo_30 {
            timeout-ms = <65>;
            key-positions = <17 7>;
            layers = <0 1 2 3 4 5>;
            bindings = <&m38>;
        };
        combo_31 {
            timeout-ms = <65>;
            key-positions = <12 22>;
            layers = <0 1 2 3 4 5>;
            bindings = <&m9>;
        };
        combo_32 {
            timeout-ms = <65>;
            key-positions = <17 18 16>;
            layers = <0 1 2 3 4 5>;
            bindings = <&m10>;
        };
        combo_33 {
            timeout-ms = <65>;
            key-positions = <16 26>;
            layers = <0 1 2 3 4 5>;
            bindings = <&m11>;
        };
        combo_34 {
            timeout-ms = <65>;
            key-positions = <16 15>;
            layers = <0 1 2 3 4 5>;
            bindings = <&kp BSPC>;
        };
        combo_35 {
            timeout-ms = <65>;
            key-positions = <21 17>;
            layers = <0 1 2 3 4 5>;
            bindings = <&m33>;
        };
        combo_36 {
            timeout-ms = <65>;
            key-positions = <5 9>;
            layers = <0 1 2 3 4 5>;
            bindings = <&m12>;
        };
        combo_37 {
            timeout-ms = <65>;
            key-positions = <15 25>;
            layers = <0 1 2 3 4 5>;
            bindings = <&m13>;
        };
        combo_38 {
            timeout-ms = <65>;
            key-positions = <15 11>;
            layers = <0 1 2 3 4 5>;
            bindings = <&m120>;
        };
        combo_39 {
            timeout-ms = <65>;
            key-positions = <3 16>;
            layers = <0 1 2 3 4 5>;
            bindings = <&m42>;
        };
        combo_40 {
            timeout-ms = <65>;
            key-positions = <8 5>;
            layers = <0 1 2 3 4 5>;
            bindings = <&m82>;
        };
        combo_41 {
            timeout-ms = <65>;
            key-positions = <16 0>;
            layers = <0 1 2 3 4 5>;
            bindings = <&m76>;
        };
        combo_42 {
            timeout-ms = <65>;
            key-positions = <16 3 6>;
            layers = <0 1 2 3 4 5>;
            bindings = <&m88>;
        };
        combo_43 {
            timeout-ms = <65>;
            key-positions = <2 25 12>;
            layers = <0 1 2 3 4 5>;
            bindings = <&m70>;
        };
        combo_44 {
            timeout-ms = <65>;
            key-positions = <21 14>;
            layers = <0 1 2 3 4 5>;
            bindings = <&m86>;
        };
        combo_45 {
            timeout-ms = <65>;
            key-positions = <20 16>;
            layers = <0 1 2 3 4 5>;
            bindings = <&m_jus>;
        };
        combo_46 {
            timeout-ms = <65>;
            key-positions = <23 13>;
            layers = <0 1 2 3 4 5>;
            bindings = <&m_verif>;
        };
        combo_47 {
            timeout-ms = <65>;
            key-positions = <13 17>;
            layers = <0 1 2 3 4 5>;
            bindings = <&m102>;
        };
        combo_48 {
            timeout-ms = <65>;
            key-positions = <10 5>;
            layers = <0 1 2 3 4 5>;
            bindings = <&m48>;
        };
        combo_49 {
            timeout-ms = <65>;
            key-positions = <8 24 16>;
            layers = <0 1 2 3 4 5>;
            bindings = <&m126>;
        };
        combo_50 {
            timeout-ms = <65>;
            key-positions = <12 1>;
            layers = <0 1 2 3 4 5>;
            bindings = <&m3>;
        };
        combo_51 {
            timeout-ms = <65>;
            key-positions = <16 19>;
            layers = <0 1 2 3 4 5>;
            bindings = <&m_outr>;
        };
        combo_52 {
            timeout-ms = <65>;
            key-positions = <17 11>;
            layers = <0 1 2 3 4 5>;
            bindings = <&m58>;
        };
        combo_53 {
            timeout-ms = <65>;
            key-positions = <17 8>;
            layers = <0 1 2 3 4 5>;
            bindings = <&m91>;
        };
        combo_54 {
            timeout-ms = <65>;
            key-positions = <15 30>;
            layers = <0 1 2 3 4 5>;
            bindings = <&m90>;
        };
        combo_55 {
            timeout-ms = <65>;
            key-positions = <3 13>;
            layers = <0 1 2 3 4 5>;
            bindings = <&m57>;
        };
        combo_56 {
            timeout-ms = <65>;
            key-positions = <1 11>;
            layers = <0 1 2 3 4 5>;
            bindings = <&m31>;
        };
        combo_57 {
            timeout-ms = <65>;
            key-positions = <17 5>;
            layers = <0 1 2 3 4 5>;
            bindings = <&m92>;
        };
        combo_58 {
            timeout-ms = <65>;
            key-positions = <16 18>;
            layers = <0 1 2 3 4 5>;
            bindings = <&m96>;
        };
        combo_59 {
            timeout-ms = <65>;
            key-positions = <12 19>;
            layers = <0 1 2 3 4 5>;
            bindings = <&m_disp>;
        };
        combo_60 {
            timeout-ms = <65>;
            key-positions = <10 17>;
            layers = <0 1 2 3 4 5>;
            bindings = <&m24>;
        };
        combo_61 {
            timeout-ms = <65>;
            key-positions = <9 11>;
            layers = <0 1 2 3 4 5>;
            bindings = <&m25>;
        };
        combo_62 {
            timeout-ms = <65>;
            key-positions = <13 19>;
            layers = <0 1 2 3 4 5>;
            bindings = <&m27>;
        };
        combo_63 {
            timeout-ms = <65>;
            key-positions = <9 20>;
            layers = <0 1 2 3 4 5>;
            bindings = <&m60>;
        };
        combo_64 {
            timeout-ms = <65>;
            key-positions = <22 7 10>;
            layers = <0 1 2 3 4 5>;
            bindings = <&m28>;
        };
        combo_65 {
            timeout-ms = <65>;
            key-positions = <0 9>;
            layers = <0 1 2 3 4 5>;
            bindings = <&m29>;
        };
        combo_66 {
            timeout-ms = <65>;
            key-positions = <9 12>;
            layers = <0 1 2 3 4 5>;
            bindings = <&m30>;
        };
        combo_67 {
            timeout-ms = <65>;
            key-positions = <10 11 12>;
            layers = <0 1 2 3 4 5>;
            bindings = <&kp CAPS>;
        };
        combo_68 {
            timeout-ms = <65>;
            key-positions = <10 11 1>;
            layers = <0 1 2 3 4 5>;
            bindings = <&m40>;
        };
        combo_69 {
            timeout-ms = <65>;
            key-positions = <25 26>;
            layers = <0 1 2 3 4 5>;
            bindings = <&m64>;
        };
        combo_70 {
            timeout-ms = <65>;
            key-positions = <16 17 18 19>;
            layers = <0 1 2 3 4 5>;
            bindings = <&m103>;
        };
        combo_71 {
            timeout-ms = <65>;
            key-positions = <12 2>;
            layers = <0 1 2 3 4 5>;
            bindings = <&m34>;
        };
        combo_72 {
            timeout-ms = <65>;
            key-positions = <12 15>;
            layers = <0 1 2 3 4 5>;
            bindings = <&m36>;
        };
        combo_73 {
            timeout-ms = <65>;
            key-positions = <9 1>;
            layers = <0 1 2 3 4 5>;
            bindings = <&m37>;
        };
        combo_74 {
            timeout-ms = <65>;
            key-positions = <13 16 12>;
            layers = <0 1 2 3 4 5>;
            bindings = <&m106>;
        };
        combo_75 {
            timeout-ms = <65>;
            key-positions = <17 27>;
            layers = <0 1 2 3 4 5>;
            bindings = <&m114>;
        };
        combo_76 {
            timeout-ms = <65>;
            key-positions = <1 6>;
            layers = <0 1 2 3 4 5>;
            bindings = <&m77>;
        };
        combo_77 {
            timeout-ms = <65>;
            key-positions = <13 14>;
            layers = <0 1 2 3 4 5>;
            bindings = <&kp DEL>;
        };
        combo_78 {
            timeout-ms = <65>;
            key-positions = <11 16>;
            layers = <0 1 2 3 4 5>;
            bindings = <&m43>;
        };
        combo_79 {
            timeout-ms = <65>;
            key-positions = <14 15>;
            layers = <0 1 2 3 4 5>;
            bindings = <&m118>;
        };
        combo_80 {
            timeout-ms = <65>;
            key-positions = <3 18>;
            layers = <0 1 2 3 4 5>;
            bindings = <&m_result>;
        };
        combo_81 {
            timeout-ms = <65>;
            key-positions = <26 12>;
            layers = <0 1 2 3 4 5>;
            bindings = <&m59>;
        };
        combo_82 {
            timeout-ms = <65>;
            key-positions = <19 15>;
            layers = <0 1 2 3 4 5>;
            bindings = <&m73>;
        };
        combo_83 {
            timeout-ms = <65>;
            key-positions = <26 1>;
            layers = <0 1 2 3 4 5>;
            bindings = <&m68>;
        };
        combo_84 {
            timeout-ms = <65>;
            key-positions = <9 23>;
            layers = <0 1 2 3 4 5>;
            bindings = <&m66>;
        };
        combo_85 {
            timeout-ms = <65>;
            key-positions = <12 14>;
            layers = <0 1 2 3 4 5>;
            bindings = <&m72>;
        };
        combo_86 {
            timeout-ms = <65>;
            key-positions = <9 4>;
            layers = <0 1 2 3 4 5>;
            bindings = <&m69>;
        };
        combo_87 {
            timeout-ms = <65>;
            key-positions = <19 17 18>;
            layers = <0 1 2 3 4 5>;
            bindings = <&m94>;
        };
        combo_88 {
            timeout-ms = <65>;
            key-positions = <24 8 14>;
            layers = <0 1 2 3 4 5>;
            bindings = <&m71>;
        };
        combo_89 {
            timeout-ms = <65>;
            key-positions = <14 19>;
            layers = <0 1 2 3 4 5>;
            bindings = <&m_aleg>;
        };
        combo_90 {
            timeout-ms = <65>;
            key-positions = <14 17>;
            layers = <0 1 2 3 4 5>;
            bindings = <&m74>;
        };
        combo_91 {
            timeout-ms = <65>;
            key-positions = <17 26>;
            layers = <0 1 2 3 4 5>;
            bindings = <&m123>;
        };
        combo_92 {
            timeout-ms = <65>;
            key-positions = <12 16>;
            layers = <0 1 2 3 4 5>;
            bindings = <&m81>;
        };
        combo_93 {
            timeout-ms = <65>;
            key-positions = <16 13 17>;
            layers = <0 1 2 3 4 5>;
            bindings = <&m109>;
        };
        combo_94 {
            timeout-ms = <65>;
            key-positions = <25 11 12>;
            layers = <0 1 2 3 4 5>;
            bindings = <&m78>;
        };
        combo_95 {
            timeout-ms = <65>;
            key-positions = <4 12>;
            layers = <0 1 2 3 4 5>;
            bindings = <&m79>;
        };
        combo_96 {
            timeout-ms = <65>;
            key-positions = <4 17>;
            layers = <0 1 2 3 4 5>;
            bindings = <&m41>;
        };
        combo_97 {
            timeout-ms = <65>;
            key-positions = <8 19>;
            layers = <0 1 2 3 4 5>;
            bindings = <&m52>;
        };
        combo_98 {
            timeout-ms = <65>;
            key-positions = <2 4 3>;
            layers = <0 1 2 3 4 5>;
            bindings = <&m83>;
        };
        combo_99 {
            timeout-ms = <65>;
            key-positions = <3 16 13>;
            layers = <0 1 2 3 4 5>;
            bindings = <&m22>;
        };
        combo_100 {
            timeout-ms = <65>;
            key-positions = <2 30>;
            layers = <0 1 2 3 4 5>;
            bindings = <&m20>;
        };
        combo_101 {
            timeout-ms = <65>;
            key-positions = <4 5>;
            layers = <0 1 2 3 4 5>;
            bindings = <&m53>;
        };
        combo_102 {
            timeout-ms = <65>;
            key-positions = <4 30>;
            layers = <0 1 2 3 4 5>;
            bindings = <&m93>;
        };
        // combo_103 REMOVIDO 04/09/2026: J+G disparava m122 ("justica gratuita")
        // e colidia com a digitacao no nvim. Macro m122 continua DEFINIDO, sem combo.
        // Mesma remocao feita no Eyelash Sofle no mesmo dia.
        combo_104 {
            timeout-ms = <65>;
            key-positions = <12 18 17>;
            layers = <0 1 2 3 4 5>;
            bindings = <&m_declar>;
        };
        combo_105 {
            timeout-ms = <65>;
            key-positions = <9 22>;
            layers = <0 1 2 3 4 5>;
            bindings = <&m23>;
        };
        combo_106 {
            timeout-ms = <65>;
            key-positions = <16 30>;
            layers = <0 1 2 3 4 5>;
            bindings = <&m97>;
        };
        combo_107 {
            timeout-ms = <65>;
            key-positions = <8 30>;
            layers = <0 1 2 3 4 5>;
            bindings = <&m98>;
        };
        combo_108 {
            timeout-ms = <65>;
            key-positions = <7 30>;
            layers = <0 1 2 3 4 5>;
            bindings = <&m99>;
        };
        combo_109 {
            timeout-ms = <65>;
            key-positions = <18 4>;
            layers = <0 1 2 3 4 5>;
            bindings = <&m_limit>;
        };
        combo_110 {
            timeout-ms = <65>;
            key-positions = <3 17>;
            layers = <0 1 2 3 4 5>;
            bindings = <&m117>;
        };
        combo_112 {
            timeout-ms = <65>;
            key-positions = <11 19>;
            layers = <0 1 2 3 4 5>;
            bindings = <&m105>;
        };
        combo_113 {
            timeout-ms = <65>;
            key-positions = <2 35>;
            layers = <0 1 2 3 4 5>;
            bindings = <&m45>;
        };
        combo_114 {
            timeout-ms = <65>;
            key-positions = <11 5>;
            layers = <0 1 2 3 4 5>;
            bindings = <&m107>;
        };
        combo_115 {
            timeout-ms = <65>;
            key-positions = <8 35>;
            layers = <0 1 2 3 4 5>;
            bindings = <&m108>;
        };
        combo_116 {
            timeout-ms = <65>;
            key-positions = <22 5>;
            layers = <0 1 2 3 4 5>;
            bindings = <&m4>;
        };
        combo_117 {
            timeout-ms = <65>;
            key-positions = <15 17>;
            layers = <0 1 2 3 4 5>;
            bindings = <&m115>;
        };
        combo_118 {
            timeout-ms = <65>;
            key-positions = <4 1>;
            layers = <0 1 2 3 4 5>;
            bindings = <&m110>;
        };
        combo_119 {
            timeout-ms = <65>;
            key-positions = <24 14>;
            layers = <0 1 2 3 4 5>;
            bindings = <&m85>;
        };
        combo_120 {
            timeout-ms = <65>;
            key-positions = <10 11 9>;
            layers = <0 1 2 3 4 5>;
            bindings = <&m100>;
        };
        combo_121 {
            timeout-ms = <65>;
            key-positions = <11 30>;
            layers = <0 1 2 3 4 5>;
            bindings = <&m113>;
        };
        combo_122 {
            timeout-ms = <65>;
            key-positions = <0 4>;
            layers = <0 1 2 3 4 5>;
            bindings = <&m21>;
        };
        combo_123 {
            timeout-ms = <65>;
            key-positions = <17 6>;
            layers = <0 1 2 3 4 5>;
            bindings = <&m95>;
        };
        combo_124 {
            timeout-ms = <65>;
            key-positions = <2 1>;
            layers = <0 1 2 3 4 5>;
            bindings = <&m116>;
        };
        combo_125 {
            timeout-ms = <65>;
            key-positions = <11 7 17>;
            layers = <0 1 2 3 4 5>;
            bindings = <&m124>;
        };
        combo_126 {
            timeout-ms = <65>;
            key-positions = <30 18>;
            layers = <0 1 2 3 4 5>;
            bindings = <&m_la>;
        };
        combo_127 {
            timeout-ms = <65>;
            key-positions = <18 2 30>;
            layers = <0 1 2 3 4 5>;
            bindings = <&m_emai>;
        };
        combo_128 {
            timeout-ms = <65>;
            key-positions = <23 16>;
            layers = <0 1 2 3 4 5>;
            bindings = <&m_veja>;
        };
        combo_acrase {
            timeout-ms = <65>;
            key-positions = <10 28>;
            layers = <0 1 2 3 4 5>;
            bindings = <&m_acrase>;
        };
        // Espaço + MAIÚSCULA (igual ao Sofle, 13/10/2026): os DOIS Espaços juntos
        // = espaço e a próxima letra sai maiúscula. Só na camada base.
        combo_espaco_maiuscula {
            timeout-ms = <65>;
            key-positions = <31 34>;
            bindings = <&m_espmai>;
            layers = <0>;
        };

        // Só MAIÚSCULA, sem espaço: = e - juntos (polegares externos). Era o
        // liga/desliga da camada de jogo, removida em 13/10/2026 (jogo é no Sofle).
        combo_maiuscula {
            timeout-ms = <65>;
            key-positions = <30 35>;
            bindings = <&sk_mai LSHFT>;
            layers = <0>;
        };

        // Colchetes no dedão, igual ao Sofle (19/10/2026). Esquerda: SPACE + = ;
        // direita: SPACE + - . ABNT2: [ = RBKT, ] = BSLH.
        combo_colch_esq {
            timeout-ms = <65>;
            key-positions = <30 31>;
            bindings = <&kp RBKT>;
            layers = <0 1 2 3 4 5>;
        };

        combo_colch_dir {
            timeout-ms = <65>;
            key-positions = <34 35>;
            bindings = <&kp BSLH>;
            layers = <0 1 2 3 4 5>;
        };

        // Símbolos frequentes em combo (28/10/2026, iguais ao Sofle) — pares quase
        // ausentes no corpus (por milhão: ,; 0,3 · zx 0,4 · zc 4,3 · qw 2,4).
        // Os 3 primeiros valem também na JOGO (6); Q+W não (atrasaria o W de andar).
        combo_dois_pontos {
            timeout-ms = <50>;
            key-positions = <27 29>;
            bindings = <&kp LS(FSLH)>;
            layers = <0 1 2 3 4 5 6>;
        };
        combo_aspas_duplas {
            timeout-ms = <50>;
            key-positions = <20 21>;
            bindings = <&kp LS(GRAVE)>;
            layers = <0 1 2 3 4 5 6>;
        };
        combo_crase {
            timeout-ms = <50>;
            key-positions = <20 22>;
            bindings = <&m_crase>;
            layers = <0 1 2 3 4 5 6>;
        };
        combo_aspas_simples {
            timeout-ms = <50>;
            key-positions = <0 1>;
            bindings = <&kp GRAVE>;
            layers = <0 1 2 3 4 5>;
        };

        // Liga/desliga a camada JOGO (6): polegar interno esquerdo + externo direito
        // (INT1 + MINUS). layers <0 6> para valer dos dois lados do toggle.
        combo_jogo {
            timeout-ms = <65>;
            key-positions = <32 35>;
            bindings = <&tog 6>;
            layers = <0 6>;
        };

        // Alt na camada JOGO: C+V (esquerda) ou M+, (direita), segurando enquanto as duas descem.
        combo_jogo_alt_esq {
            timeout-ms = <50>;
            key-positions = <22 23>;
            bindings = <&kp LALT>;
            layers = <6>;
        };

        combo_acirc {
            timeout-ms = <65>;
            key-positions = <10 35>;
            layers = <0 1 2 3 4 5>;
            bindings = <&m_acirc>;
        };
        combo_dagudo {
            timeout-ms = <65>;
            key-positions = <12 35>;
            layers = <0 1 2 3 4 5>;
            bindings = <&m_dagudo>;
        };
        combo_jogo_alt_dir {
            timeout-ms = <50>;
            key-positions = <26 27>;
            bindings = <&kp LALT>;
            layers = <6>;
        };

        // Enter na camada JOGO: Y+P.
        combo_jogo_enter {
            timeout-ms = <50>;
            key-positions = <5 9>;
            bindings = <&kp RET>;
            layers = <6>;
        };
    };
    // Sem conditional_layers (removido 13/10/2026): o tri_bt (1+2 -> 5) DESLIGAVA a
    // camada 5 sempre que 1 e 2 não estavam juntas — anulava o &mo 5 da Lower.
    // LED Scroll Lock do host = canal host->teclado (módulo ssbb/zmk-listeners, só no central =
    // direita). Borda de subida liga a camada JOGO (6); de descida, desliga. O combo INT1+MINUS
    // (&tog 6) segue valendo. Host: advogado_hacker/tools/teclado_camada.sh jogo|base.
    hid_listeners {
        compatible = "zmk,hid-listeners";
        scroll_lock_jogo {
            indicator = <HID_USAGE_LED_SCROLL_LOCK>;
            bindings = <&tog_on 6 &tog_off 6>;
        };
    };

    keymap {
        compatible = "zmk,keymap";

        default_layer {
            bindings = <
                &kp Q  &kp W  &kp E  &kp R  &kp T    &kp Y  &hm_r RALT U  &kp I  &kp O  &kp P
                &lt 2 A  &hm_l LSHFT S  &hm_l LALT D  &hm_l LCTRL F  &kp G    &kp H  &hm_r LCTRL J  &hm_r LALT K  &hm_r LSHFT L  &lt 2 SEMI
                &kp Z  &kp X  &kp C  &kp V  &kp B    &kp N  &kp M  &kp COMMA  &kp DOT  &kp FSLH
                          &lt 4 EQUAL  &lt 1 SPACE  &kp INT1    &lt 5 RET  &lt 1 SPACE  &lt 4 MINUS
            >;
        };

        lower_layer {
            bindings = <
                &kp N1  &kp N2  &kp N3  &kp N4  &kp N5    &kp N6  &kp N7  &kp N8  &kp N9  &kp N0
                &none  &none  &kp NON_US_BSLH  &mkp LCLK  &msc SCRL_UP    &mmv MOVE_LEFT  &mmv MOVE_DOWN  &mmv MOVE_UP  &mmv MOVE_RIGHT  &kp LC(LS(V))
                &kp C_VOL_UP  &kp C_VOL_DN  &none  &kp PSCRN  &msc SCRL_DOWN    &msc SCRL_LEFT  &msc SCRL_DOWN  &msc SCRL_UP  &msc SCRL_RIGHT  &none
                          &none  &none  &mkp LCLK    &mkp MCLK  &mkp RCLK  &tog 1
            >;
        };

        raise_layer {
            bindings = <
                &kp LS(N1)  &kp LS(N2)  &kp LS(N3)  &kp LS(N4)  &kp LS(N5)    &kp LS(SQT)  &kp LS(N7)  &kp LS(N8)  &kp LS(N9)  &kp LS(N0)
                &kp LS(LBKT)  &none  &kp GRAVE  &kp LS(GRAVE)  &kp LS(FSLH)    &kp LEFT  &kp DOWN  &kp UP  &kp RIGHT  &kp SQT
                &none  &none  &none  &kp LBKT  &none    &none  &m51  &kp LS(COMMA)  &kp LS(DOT)  &none
                          &kp LS(RBKT)  &kp RBKT  &m51    &none  &kp BSLH  &kp LS(BSLH)
            >;
        };

        adjust_layer {
            bindings = <
                &none  &none  &none  &none  &none    &none  &none  &none  &none  &none
                &none  &none  &none  &none  &none    &none  &none  &none  &none  &none
                &none  &none  &none  &none  &none    &none  &none  &none  &none  &none
                          &none  &none  &none    &none  &none  &none
            >;
        };

        macro_layer {
            bindings = <
                &m35  &none  &m39  &m89  &m26    &none  &m67  &m121  &m56  &m127
                &m_aplic  &m19  &m62  &none  &m87    &none  &m47  &m80  &m104  &none
                &none  &m84  &m44  &m46  &none    &none  &none  &none  &m112  &none
                          &none  &none  &none    &none  &none  &none
            >;
        };

        bt_layer {
            bindings = <
                &bt BT_SEL 0  &bt BT_SEL 1  &bt BT_SEL 2  &bt BT_SEL 3  &bt BT_SEL 4    &none  &none  &none  &none  &none
                &none  &none  &none  &none  &none    &none  &none  &none  &none  &none
                &none  &none  &none  &bt BT_CLR  &none    &none  &none  &none  &none  &none
                          &none  &none  &none    &trans  &none  &none
            >;
        };

        // Camada JOGO (19/10/2026): letras em &kp puro (jogo ignora home-row mod). Os combos
        // das camadas 0-5 não disparam aqui. Tab = F+D e Esc = J+K (combos das camadas 0-5 estendidos à 6); Alt = C+V ou M+, (abaixo).
        game_layer {
            display-name = "JOGO";
            bindings = <
                &kp Q  &kp W  &kp E  &kp R  &kp T    &kp Y  &kp U  &kp I  &kp O  &kp P
                &kp A  &kp S  &kp D  &kp F  &kp G    &kp H  &kp J  &kp K  &kp L  &kp SEMI
                &kp Z  &kp X  &kp C  &kp V  &kp B    &kp N  &kp M  &kp COMMA  &kp DOT  &kp FSLH
                          &kp LSHFT  &kp SPACE  &kp LCTRL    &kp RCTRL  &kp SPACE  &kp RSHFT
            >;
        };


    };
};
